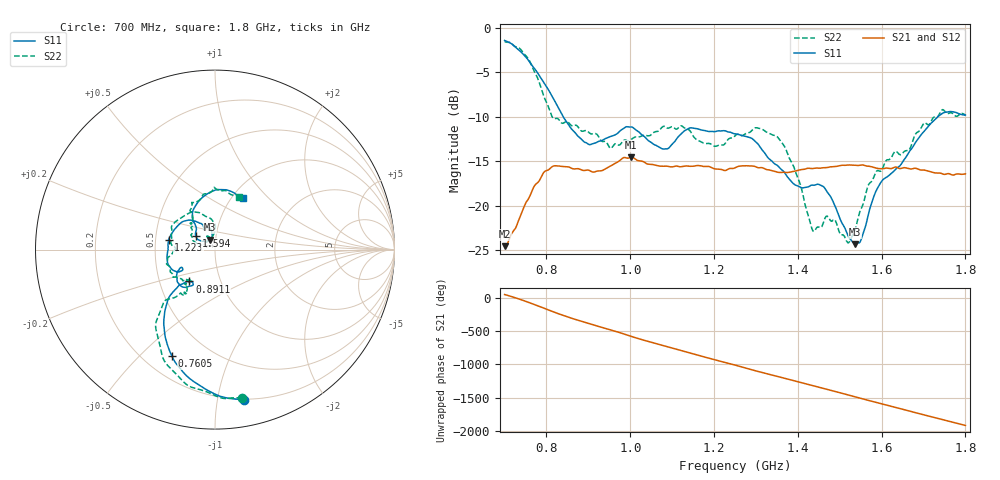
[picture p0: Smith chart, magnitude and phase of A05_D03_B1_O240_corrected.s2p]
! Created with skrf 1.9.0 (http://scikit-rf.org).
# Hz S RI R 50.0
!freq ReS11 ImS11 ReS21 ImS21 ReS12 ImS12 ReS22 ImS22
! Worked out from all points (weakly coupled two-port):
!   1601 points, 700 MHz to 1.8 GHz, reference 50 ohm
!   highest |S21| = -14.55 dB at 1.002 GHz (marker M1); lowest = -24.6 dB at 701.4 MHz (marker M2)
!   lowest |S11| = -24.3 dB at 1.536 GHz (marker M3), VSWR 1.13, Z = 47.1 + j5.16 ohm
!   |S11| at or under -10 dB: 840 MHz to 1.734 GHz (894.1 MHz wide, 69.5 % of centre)
!   |S22| runs from -24.2 to -1.5 dB; largest |S21 - S12| = 0.0035
!   S11 on the Smith chart (normalised r, x): 700 MHz: 0.20, -1.19; 760.5 MHz: 0.31, -0.63; 891.1 MHz: 0.71, -0.27; 1.223 GHz: 0.59, +0.07; 1.594 GHz: 0.80, +0.12; 1.8 GHz: 1.12, +0.71
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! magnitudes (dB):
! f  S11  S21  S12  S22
! 700 MHz  -1.4  -24.6  -24.3  -1.5
! 701.4 MHz  -1.4  -24.6  -24.2  -1.5
! 760.5 MHz  -3.9  -18.9  -18.8  -3.8
! 814.8 MHz  -7.8  -15.6  -15.6  -10.1
! 883.6 MHz  -12.5  -16.0  -15.9  -11.6
! 891.1 MHz  -12.9  -16.0  -16.0  -11.6
! 953 MHz  -12.2  -15.5  -15.5  -13.5
! 1.002 GHz  -11.1  -14.5  -14.7  -12.6
! 1.067 GHz  -13.4  -15.5  -15.5  -11.6
! 1.223 GHz  -11.6  -16.0  -16.0  -13.2
! 1.25 GHz  -11.9  -15.7  -15.7  -12.1
! 1.355 GHz  -15.6  -16.3  -16.2  -12.4
! 1.394 GHz  -17.7  -16.1  -16.1  -16.1
! 1.434 GHz  -17.7  -15.8  -15.8  -22.6
! 1.466 GHz  -18.1  -15.7  -15.7  -21.3
! 1.52 GHz  -23.4  -15.4  -15.4  -24.2
! 1.536 GHz  -24.3  -15.4  -15.5  -22.8
! 1.568 GHz  -21.1  -15.6  -15.6  -17.8
! 1.594 GHz  -17.7  -15.8  -15.8  -16.1
! 1.617 GHz  -16.6  -15.8  -15.8  -14.8
! 1.738 GHz  -9.8  -16.3  -16.4  -9.7
! 1.8 GHz  -9.8  -16.4  -16.4  -9.8
